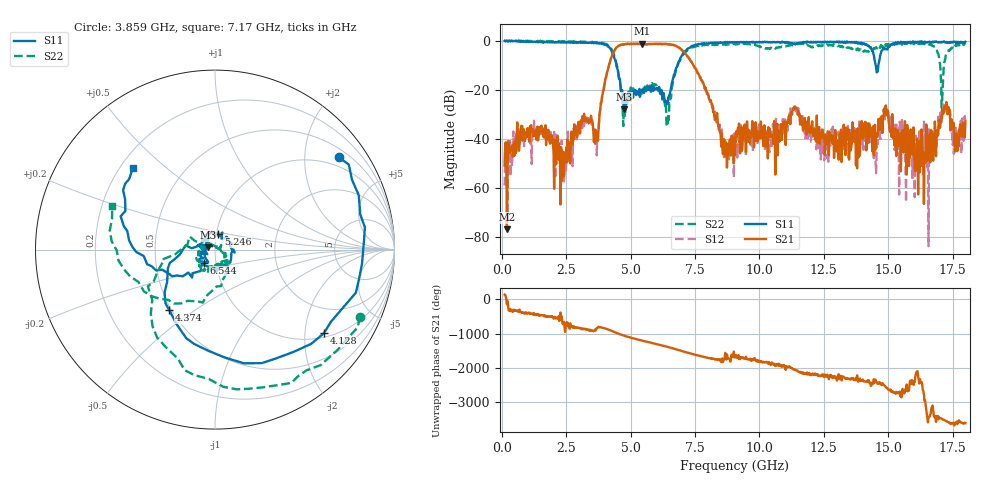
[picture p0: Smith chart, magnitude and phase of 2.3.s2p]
!Keysight Technologies N9917A: A.08.15
!Date: Friday, 29 September 2017 09:28:03
!Timezone: (GMT-08:00) Pacific Time (US & Canada)
!Model: N9917A
!Serial: MY53102735
!GPS Latitude:
!GPS Longitude:
!GPS TimeStamp: 0001-01-01 00:00:00Z
!GPS Seconds Since Last Read: 0
!CHECKSUM:2144560541
!Correction: S11(ON U)S21(ON U)S12(ON U)S22(ON U)
!S2P File: Measurements:S11,S21,S12,S22:
# Hz S DB R 50
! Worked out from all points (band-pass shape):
!   801 points, 100 MHz to 18 GHz, reference 50 ohm
!   highest |S21| = -1.23 dB at 5.425 GHz (marker M1); lowest = -77.0 dB at 189.5 MHz (marker M2)
!   |S21| within 3 dB of the highest: 4.356 GHz to 7.029 GHz (2.673 GHz wide, 47 % of centre)
!   lowest |S11| = -27.9 dB at 4.732 GHz (marker M3), VSWR 1.08, Z = 46.3 + j1.14 ohm
!   |S11| at or under -10 dB: 4.444 GHz to 6.813 GHz (2.369 GHz wide, 42.1 % of centre); 14.52 GHz to 14.62 GHz (101.6 MHz wide, 0.698 % of centre)
!   |S22| runs from -35.1 to 0.1 dB; largest |S21 - S12| = 0.041
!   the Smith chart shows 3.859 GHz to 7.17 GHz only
!   S11 on the Smith chart (normalised r, x): 3.859 GHz: 0.72, +2.85; 4.128 GHz: 1.12, -2.51; 4.374 GHz: 0.49, -0.40; 5.246 GHz: 1.02, +0.18; 6.544 GHz: 0.88, -0.13; 7.17 GHz: 0.25, +0.39
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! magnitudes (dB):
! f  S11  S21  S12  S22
! 100 MHz  -0.1  -51.0  -59.1  0.0
! 189.5 MHz  0.0  -77.0  -58.5  0.0
! 1.308 GHz  -0.6  -36.8  -38.9  -0.3
! 2.36 GHz  -0.4  -45.4  -46.1  -0.5
! 3.098 GHz  -0.7  -32.4  -35.4  -0.5
! 3.859 GHz  -1.3  -25.4  -25.2  -1.0
! 4.128 GHz  -2.3  -11.3  -11.0  -2.0
! 4.374 GHz  -7.5  -3.9  -4.0  -7.0
! 4.732 GHz  -27.9  -1.6  -1.6  -28.2
! 5.246 GHz  -20.9  -1.3  -1.2  -20.6
! 5.425 GHz  -20.5  -1.2  -1.4  -21.7
! 6.074 GHz  -19.7  -1.4  -1.4  -18.7
! 6.544 GHz  -20.5  -1.6  -1.6  -22.9
! 7.17 GHz  -3.8  -5.9  -5.9  -4.1
! 8.647 GHz  -0.8  -46.5  -42.3  -1.6
! 9.05 GHz  -0.6  -46.7  -41.9  -1.4
! 12.05 GHz  -0.8  -32.9  -36.6  -2.7
! 14.51 GHz  -9.6  -44.3  -49.8  -3.1
! 15.02 GHz  -2.1  -33.2  -32.0  -1.5
! 16.08 GHz  -0.4  -46.2  -38.8  -1.4
! 17.08 GHz  -0.5  -31.6  -32.2  -31.9
! 18 GHz  -0.5  -32.9  -34.3  -0.9
